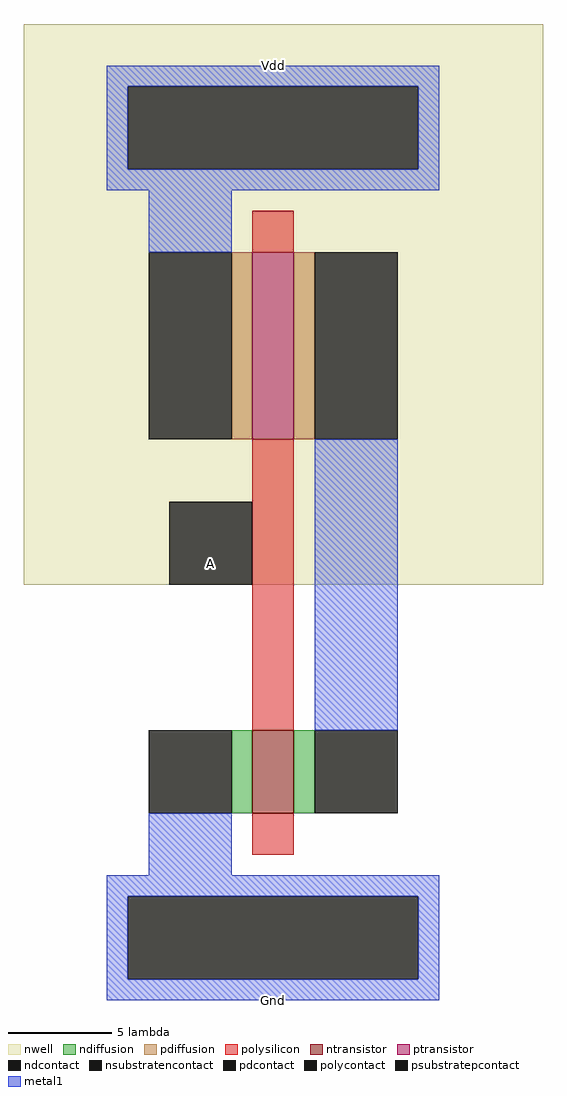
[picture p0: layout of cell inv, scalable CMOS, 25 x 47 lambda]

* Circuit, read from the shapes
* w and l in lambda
.subckt inv A Gnd Vdd
M1 n1 A Gnd Gnd nfet w=4 l=2
M2 n1 A Vdd Vdd pfet w=9 l=2
.ends

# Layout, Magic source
magic
tech scmos
<< nwell >>
rect -6 -6 19 21
<< ntransistor >>
rect 5 -17 7 -13
<< ptransistor >>
rect 5 1 7 10
<< ndiffusion >>
rect 4 -17 5 -13
rect 7 -17 8 -13
<< pdiffusion >>
rect 4 1 5 10
rect 7 1 8 10
<< ndcontact >>
rect 0 -17 4 -13
rect 8 -17 12 -13
<< pdcontact >>
rect 0 1 4 10
rect 8 1 12 10
<< psubstratepcontact >>
rect -1 -25 13 -21
<< nsubstratencontact >>
rect -1 14 13 18
<< polysilicon >>
rect 5 10 7 12
rect 5 -13 7 1
rect 5 -19 7 -17
<< polycontact >>
rect 1 -6 5 -2
<< metal1 >>
rect -2 18 14 19
rect -2 14 -1 18
rect 13 14 14 18
rect -2 13 14 14
rect 0 10 4 13
rect 8 -13 12 1
rect 0 -20 4 -17
rect -2 -21 14 -20
rect -2 -25 -1 -21
rect 13 -25 14 -21
rect -2 -26 14 -25
<< labels >>
rlabel metal1 6 -26 6 -26 1 Gnd
rlabel metal1 6 19 6 19 5 Vdd
rlabel polycontact 3 -5 3 -5 1 A
<< end >>
